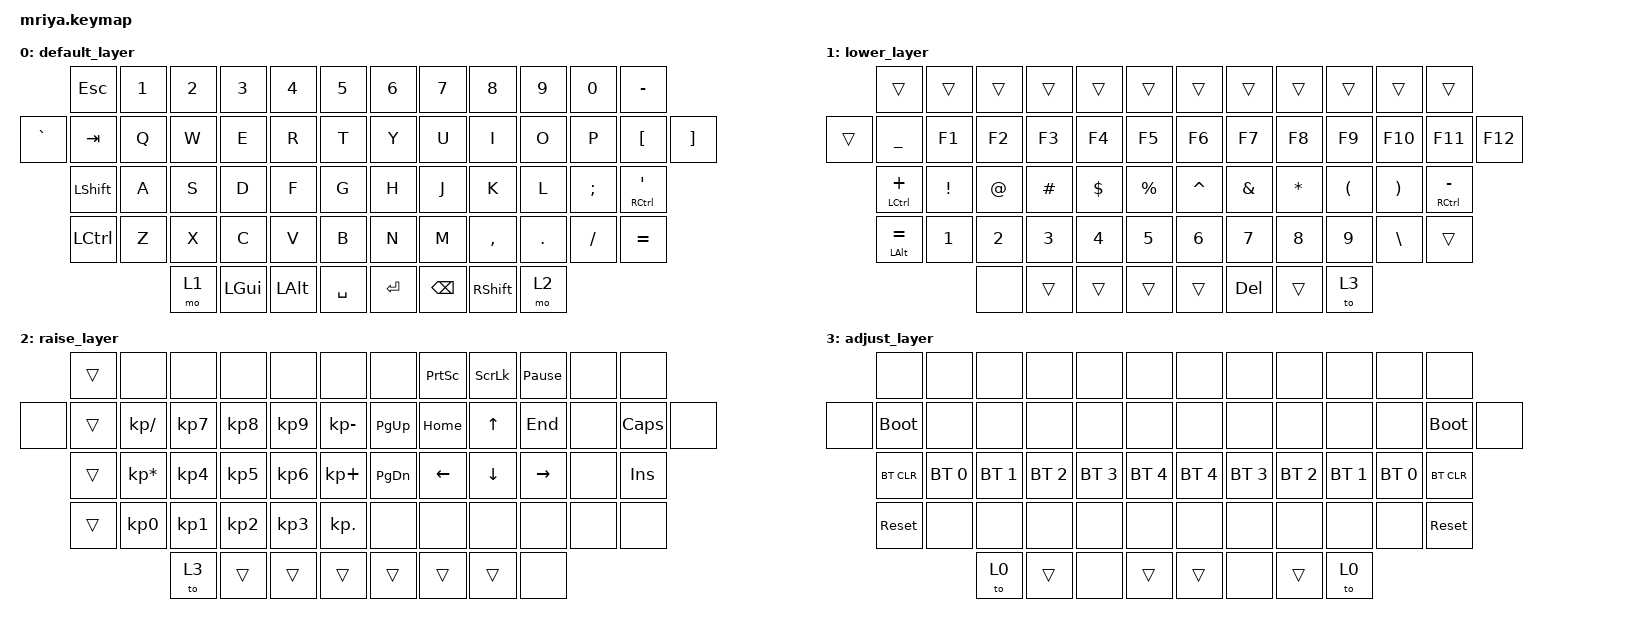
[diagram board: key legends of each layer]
/*
 * Copyright (c) 2023 Andrei Gaevskii
 *
 * SPDX-License-Identifier: MIT
 */

#include <behaviors.dtsi>
#include <dt-bindings/zmk/bt.h>
#include <dt-bindings/zmk/keys.h>

#define DEF 0
#define LWR 1
#define RSE 2
#define ADJ 3

&lt {
    quick_tap_ms = <200>;
};

&mt {
    quick_tap_ms = <200>;
};

/ {
    keymap {
        compatible = "zmk,keymap";

        default_layer {
            bindings = <
           &kp ESC           &kp N1  &kp N2  &kp N3        &kp N4        &kp N5       &kp N6     &kp N7         &kp N8           &kp N9   &kp N0    &kp MINUS
&kp GRAVE  &kp TAB           &kp Q   &kp W   &kp E         &kp R         &kp T        &kp Y      &kp U          &kp I            &kp O    &kp P     &kp LBKT       &kp RIGHT_BRACKET
           &kp LEFT_SHIFT    &kp A   &kp S   &kp D         &kp F         &kp G        &kp H      &kp J          &kp K            &kp L    &kp SEMI  &mt RCTRL SQT
           &kp LEFT_CONTROL  &kp Z   &kp X   &kp C         &kp V         &kp B        &kp N      &kp M          &kp COMMA        &kp DOT  &kp FSLH  &kp EQUAL
                                     &mo 1   &kp LEFT_GUI  &kp LEFT_ALT  &kp SPACE    &kp ENTER  &kp BACKSPACE  &kp RIGHT_SHIFT  &mo 2
            >;
        };

        lower_layer {
            bindings = <
        &trans          &trans    &trans  &trans    &trans    &trans       &trans     &trans    &trans    &trans    &trans         &trans
&trans  &kp UNDER       &kp F1    &kp F2  &kp F3    &kp F4    &kp F5       &kp F6     &kp F7    &kp F8    &kp F9    &kp F10        &kp F11          &kp F12
        &mt LCTRL PLUS  &kp EXCL  &kp AT  &kp HASH  &kp DLLR  &kp PRCNT    &kp CARET  &kp AMPS  &kp STAR  &kp LPAR  &kp RPAR       &mt RCTRL MINUS
        &mt LALT EQUAL  &kp N1    &kp N2  &kp N3    &kp N4    &kp N5       &kp N6     &kp N7    &kp N8    &kp N9    &kp BACKSLASH  &trans
                                  &none   &trans    &trans    &trans       &trans     &kp DEL   &trans    &to 3
            >;
        };

        raise_layer {
            bindings = <
       &trans  &none            &none      &none      &none      &none           &none          &kp PRINTSCREEN  &kp SCROLLLOCK  &kp PAUSE_BREAK  &none  &none
&none  &trans  &kp KP_SLASH     &kp KP_N7  &kp KP_N8  &kp KP_N9  &kp KP_MINUS    &kp PAGE_UP    &kp HOME         &kp UP_ARROW    &kp END          &none  &kp CAPS    &none
       &trans  &kp KP_MULTIPLY  &kp KP_N4  &kp KP_N5  &kp KP_N6  &kp KP_PLUS     &kp PAGE_DOWN  &kp LEFT         &kp DOWN_ARROW  &kp RIGHT        &none  &kp INSERT
       &trans  &kp KP_N0        &kp KP_N1  &kp KP_N2  &kp KP_N3  &kp KP_DOT      &none          &none            &none           &none            &none  &none
                                &to 3      &trans     &trans     &trans          &trans         &trans           &trans          &none
            >;
        };

        adjust_layer {
            bindings = <
       &none        &none         &none         &none         &none         &none           &none         &none         &none         &none         &none         &none
&none  &bootloader  &none         &none         &none         &none         &none           &none         &none         &none         &none         &none         &bootloader  &none
       &bt BT_CLR   &bt BT_SEL 0  &bt BT_SEL 1  &bt BT_SEL 2  &bt BT_SEL 3  &bt BT_SEL 4    &bt BT_SEL 4  &bt BT_SEL 3  &bt BT_SEL 2  &bt BT_SEL 1  &bt BT_SEL 0  &bt BT_CLR
       &sys_reset   &none         &none         &none         &none         &none           &none         &none         &none         &none         &none         &sys_reset
                                  &to 0         &trans        &none         &trans          &trans        &none         &trans        &to 0
            >;
        };
    };
};
